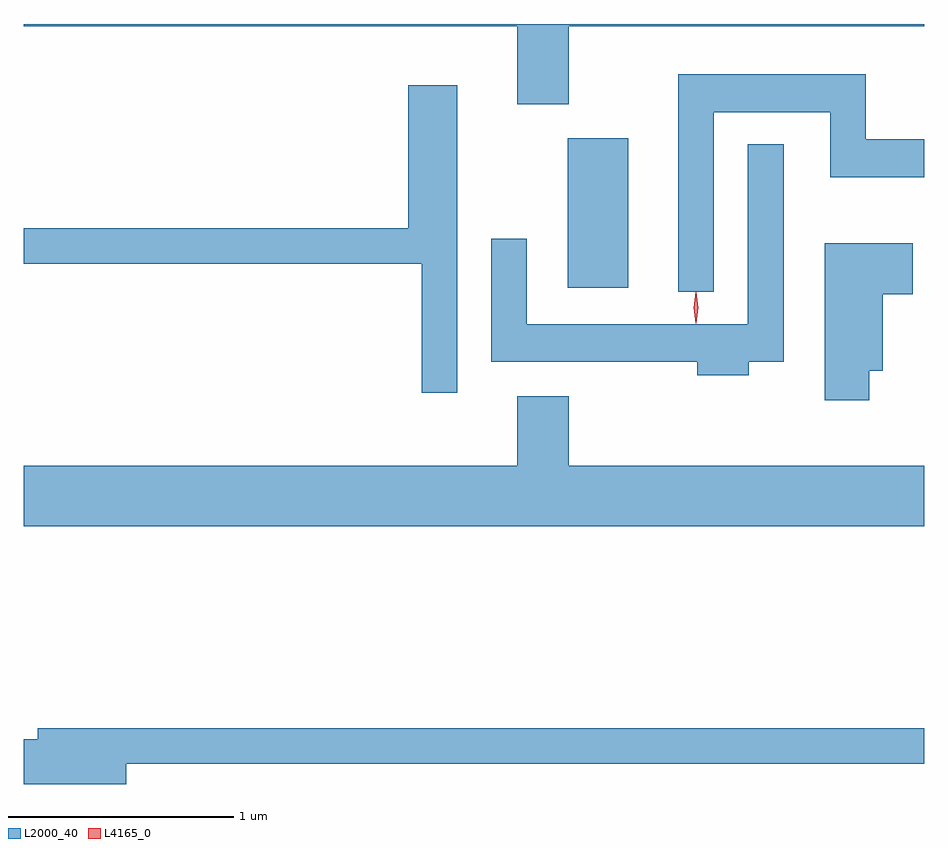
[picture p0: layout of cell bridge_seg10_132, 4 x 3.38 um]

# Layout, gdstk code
import gdstk
lib = gdstk.Library(unit=1e-6, precision=1e-09)
def R(c, l, rs):  # rectangles x0, y0, x1, y1
    for r in rs: c.add(gdstk.rectangle(r[:2], r[2:], *l))
def P(c, l, *ps):  # polygons
    for p in ps: c.add(gdstk.Polygon(p, *l))
L2000_40 = (2000, 40)
L4165_0 = (4165, 0)

bridge_seg10_132 = lib.new_cell('bridge_seg10_132')
R(bridge_seg10_132, L2000_40, [(1656.786,2099.436,1657.054,2100.099)])
P(bridge_seg10_132, L2000_40, [(1656.789,2100.596),(1658.369,2100.596),(1658.369,2100.607),(1654.369,2100.607),(1654.369,2100.596),(1656.561,2100.596),(1656.561,2100.251),(1656.789,2100.251)],
  [(1657.434,2100.216),(1657.951,2100.216),(1657.951,2099.926),(1658.369,2099.926),(1658.369,2100.094),(1658.109,2100.094),(1658.109,2100.384),(1657.276,2100.384),(1657.276,2099.418),(1657.434,2099.418)],
  [(1656.294,2100.334),(1656.076,2100.334),(1656.076,2099.699),(1654.369,2099.699),(1654.369,2099.541),(1656.136,2099.541),(1656.136,2098.968),(1656.294,2098.968)],
  [(1657.589,2099.106),(1657.744,2099.106),(1657.744,2100.073),(1657.586,2100.073),(1657.586,2099.274),(1656.604,2099.274),(1656.604,2099.653),(1656.446,2099.653),(1656.446,2099.106),(1657.361,2099.106),(1657.361,2099.046),(1657.589,2099.046)],
  [(1658.124,2099.066),(1658.184,2099.066),(1658.184,2099.406),(1658.319,2099.406),(1658.319,2099.634),(1657.926,2099.634),(1657.926,2098.936),(1658.124,2098.936)],
  [(1658.369,2098.644),(1656.789,2098.644),(1656.789,2098.954),(1656.561,2098.954),(1656.561,2098.644),(1654.369,2098.644),(1654.369,2098.376),(1658.369,2098.376)],
  [(1654.824,2097.321),(1658.369,2097.321),(1658.369,2097.479),(1654.431,2097.479),(1654.431,2097.429),(1654.369,2097.429),(1654.369,2097.231),(1654.824,2097.231)])
P(bridge_seg10_132, L4165_0, [(1657.355,2099.279),(1657.354,2099.28),(1657.345,2099.346),(1657.354,2099.412),(1657.355,2099.413),(1657.355,2099.412),(1657.365,2099.346),(1657.355,2099.28)],
  [(1657.354,2099.277),(1657.345,2099.346),(1657.354,2099.416),(1657.355,2099.416),(1657.356,2099.416),(1657.365,2099.346),(1657.356,2099.277),(1657.355,2099.277)])

lib.write_gds('bridge_seg10_132.gds')
